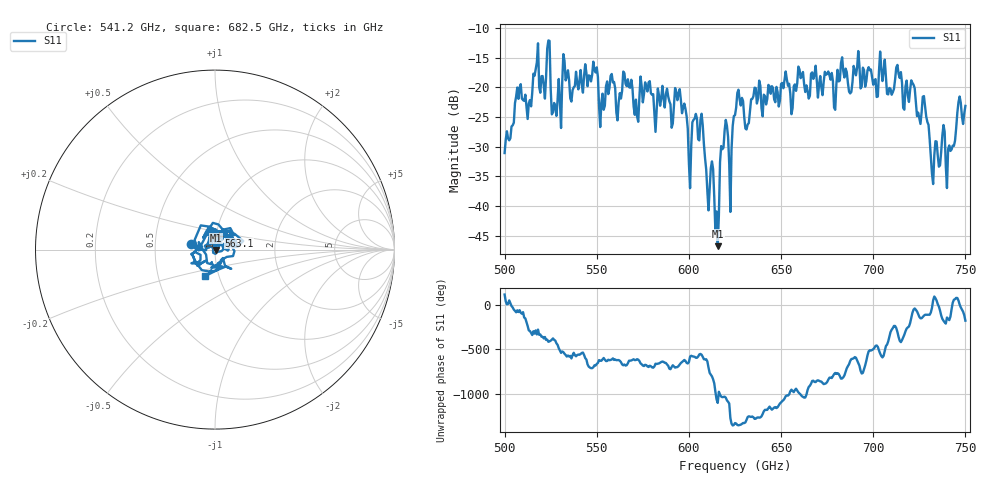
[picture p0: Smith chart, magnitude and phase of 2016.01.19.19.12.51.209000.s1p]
!Created with skrf (http://scikit-rf.org).
# GHz S RI R 50.0
!freq ReS11 ImS11
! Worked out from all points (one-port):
!   401 points, 500 GHz to 750 GHz, reference 50 ohm
!   lowest |S11| = -46.8 dB at 615.6 GHz (marker M1), VSWR 1.01, Z = 50.4 - j0.195 ohm
!   |S11| at or under -10 dB: start of sweep to end of sweep
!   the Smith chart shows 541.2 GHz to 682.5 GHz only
!   S11 on the Smith chart (normalised r, x): 541.2 GHz: 0.76, +0.05; 563.1 GHz: 1.03, +0.16; 682.5 GHz: 0.85, -0.26
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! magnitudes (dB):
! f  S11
! 500 GHz  -31.1
! 507.5 GHz  -22.0
! 513.8 GHz  -22.2
! 516.9 GHz  -16.9
! 520.6 GHz  -18.1
! 523.8 GHz  -12.1
! 526.9 GHz  -22.6
! 531.2 GHz  -19.2
! 541.2 GHz  -17.1
! 562.5 GHz  -21.0
! 563.1 GHz  -21.9
! 593.8 GHz  -22.2
! 600 GHz  -32.8
! 606.9 GHz  -24.5
! 610 GHz  -37.5
! 615.6 GHz  -46.8
! 618.8 GHz  -30.2
! 622.5 GHz  -41.0
! 625 GHz  -24.7
! 656.2 GHz  -23.5
! 682.5 GHz  -15.9
! 687.5 GHz  -21.0
! 705 GHz  -19.0
! 718.8 GHz  -21.4
! 728.1 GHz  -23.2
! 731.9 GHz  -34.6
! 740.6 GHz  -30.4
! 750 GHz  -23.1
